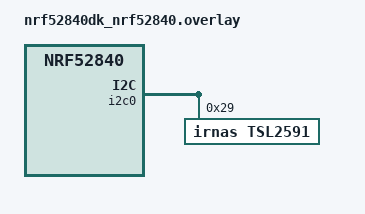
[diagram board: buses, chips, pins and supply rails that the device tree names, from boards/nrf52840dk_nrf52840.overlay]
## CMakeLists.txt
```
# SPDX-License-Identifier: Apache-2.0

cmake_minimum_required(VERSION 3.20.0)
find_package(Zephyr REQUIRED HINTS $ENV{ZEPHYR_BASE})
project(tsl2591)

FILE(GLOB app_sources src/*.c)
target_sources(app PRIVATE ${app_sources})
```

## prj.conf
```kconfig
CONFIG_STDOUT_CONSOLE=y
CONFIG_I2C=y
CONFIG_SENSOR=y
CONFIG_IRNAS_TSL2591=y

CONFIG_LOG=y
CONFIG_SENSOR_LOG_LEVEL_DBG=y
```

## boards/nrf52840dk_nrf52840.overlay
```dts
/*
 * Copyright (c) 2019 Nordic Semiconductor ASA
 *
 * SPDX-License-Identifier: Apache-2.0
 */

&i2c0 { 
	tsl2591: tsl2591@29 {
		compatible = "irnas,tsl2591";
		reg = <0x29>;
		gain = <1>;
		atime = <0>;
	};
};
```

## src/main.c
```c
/*
 * Copyright (c) 2019 Nordic Semiconductor ASA
 *
 * SPDX-License-Identifier: Apache-2.0
 */

#include <stdio.h>
#include <zephyr/device.h>
#include <zephyr/devicetree.h>
#include <zephyr/drivers/sensor.h>
#include <zephyr/kernel.h>
#include <zephyr/sys/util.h>

#include <zephyr/logging/log.h>
LOG_MODULE_REGISTER(main, CONFIG_SENSOR_LOG_LEVEL);

BUILD_ASSERT(DT_NODE_EXISTS(DT_NODELABEL(tsl2591)), "tsl2591 is not defined in DT");

const struct device *tsl2591_sensor = DEVICE_DT_GET(DT_NODELABEL(tsl2591));
struct sensor_value val;

static void fetch_and_display(const struct device *sensor)
{
	if (!sensor) {
		LOG_ERR("Failed to init tsl2591!");
	}
	int err = sensor_sample_fetch(sensor);
	if (!err) {
		err = sensor_channel_get(sensor, SENSOR_CHAN_ALL, &val);
	}
	if (err < 0) {
		LOG_ERR("ERROR: tsl2591 Update failed: %d\n", err);
	} else {
		LOG_INF("ch0: %d ch1: %d", val.val1, val.val2);
	}
}

void main(void)
{
	if (!tsl2591_sensor) {
		LOG_ERR("Failed to init tsl2591!");
		return;
	} else {
		LOG_INF("Bind to tsl2591.");
	}

	if (!device_is_ready(tsl2591_sensor)) {
		LOG_ERR("Device %s is not ready", tsl2591_sensor->name);
		return;
	} else {
		LOG_INF("Device %s is ready", tsl2591_sensor->name);
	}

	while (1) {

		fetch_and_display(tsl2591_sensor);
		k_msleep(1000);
	}
}
```
